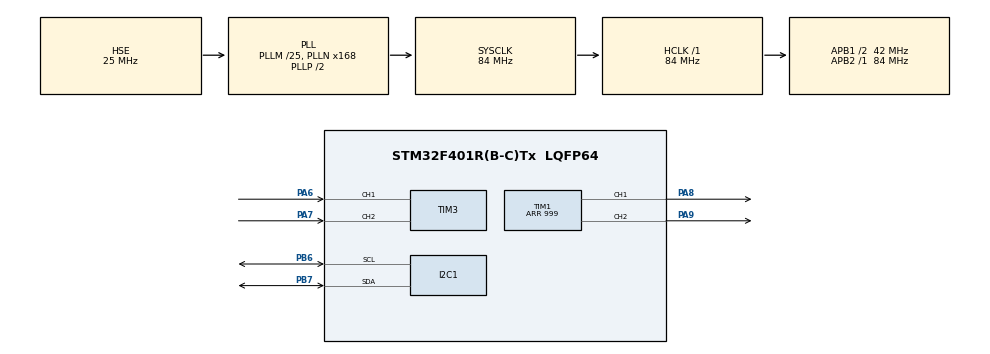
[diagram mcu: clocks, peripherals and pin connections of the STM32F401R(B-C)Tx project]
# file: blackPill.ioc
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FREERTOS.Tasks01=defaultTask,24,128,StartDefaultTask,Default,NULL,Dynamic,NULL,NULL
Mcu.Family=STM32F4
Mcu.Name=STM32F401R(B-C)Tx
Mcu.Package=LQFP64
NVIC.PriorityGroup=NVIC_PRIORITYGROUP_4
NVIC.TIM1_BRK_TIM9_IRQn=true\:15\:0\:false\:false\:true\:false\:false\:true\:true
NVIC.TimeBase=TIM1_BRK_TIM9_IRQn
NVIC.TimeBaseIP=TIM9
PA6.Signal=S_TIM3_CH1
PA7.Signal=S_TIM3_CH2
PA8.Signal=S_TIM1_CH1
PA9.Signal=S_TIM1_CH2
PB6.Mode=I2C
PB6.Signal=I2C1_SCL
PB7.Mode=I2C
PB7.Signal=I2C1_SDA
PH0\ -\ OSC_IN.Mode=HSE-External-Oscillator
PH0\ -\ OSC_IN.Signal=RCC_OSC_IN
PH1\ -\ OSC_OUT.Mode=HSE-External-Oscillator
PH1\ -\ OSC_OUT.Signal=RCC_OSC_OUT
ProjectManager.HeapSize=0x200
ProjectManager.StackSize=0x400
ProjectManager.TargetToolchain=CMake
RCC.48MHZClocksFreq_Value=42000000
RCC.AHBFreq_Value=84000000
RCC.APB1CLKDivider=RCC_HCLK_DIV2
RCC.APB1Freq_Value=42000000
RCC.APB1TimFreq_Value=84000000
RCC.APB2Freq_Value=84000000
RCC.APB2TimFreq_Value=84000000
RCC.CortexFreq_Value=84000000
RCC.HCLKFreq_Value=84000000
RCC.HSE_VALUE=25000000
RCC.HSI_VALUE=16000000
RCC.LSE_VALUE=32768
RCC.PLLM=25
RCC.PLLN=168
RCC.PLLSourceVirtual=RCC_PLLSOURCE_HSE
RCC.SYSCLKFreq_VALUE=84000000
RCC.SYSCLKSource=RCC_SYSCLKSOURCE_PLLCLK
RCC.VCOOutputFreq_Value=168000000
SH.S_TIM1_CH1.0=TIM1_CH1,PWM Generation1 CH1
SH.S_TIM1_CH2.0=TIM1_CH2,PWM Generation2 CH2
SH.S_TIM3_CH1.0=TIM3_CH1,Encoder_Interface
SH.S_TIM3_CH2.0=TIM3_CH2,Encoder_Interface
TIM1.Channel-PWM\ Generation1\ CH1=TIM_CHANNEL_1
TIM1.Channel-PWM\ Generation2\ CH2=TIM_CHANNEL_2
TIM1.Period=999
TIM3.EncoderMode=TIM_ENCODERMODE_TI12
VP_FREERTOS_VS_CMSIS_V2.Mode=CMSIS_V2
VP_SYS_VS_tim9.Mode=TIM9
board=custom

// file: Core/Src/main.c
/* USER CODE BEGIN Header */
/**
 ******************************************************************************
 * @file           : main.c
 * @brief          : Main program body
 ******************************************************************************
 * @attention
 *
 * Copyright (c) 2026 STMicroelectronics.
 * All rights reserved.
 *
 * This software is licensed under terms that can be found in the LICENSE file
 * in the root directory of this software component.
 * If no LICENSE file comes with this software, it is provided AS-IS.
 *
 ******************************************************************************
 */
/* USER CODE END Header */
#include "main.h"
#include "cmsis_os.h"

/* USER CODE BEGIN Includes */
#include "eeprom.h"
#include "app_main.h"

#include "stdio.h"
#include "math.h"

/* USER CODE END Includes */

I2C_HandleTypeDef hi2c1;

TIM_HandleTypeDef htim1;
TIM_HandleTypeDef htim3;

/* Definitions for defaultTask */
osThreadId_t defaultTaskHandle;
const osThreadAttr_t defaultTask_attributes = {
  .name = "defaultTask",
  .stack_size = 128 * 4,
  .priority = (osPriority_t) osPriorityNormal,
};
/* USER CODE BEGIN PV */
uint32_t ir_sequence[9] = {
    2200, 0,    0,   // Pulse 1: Only Channel 1 is ON
    0,    2200, 0,   // Pulse 2: Only Channel 2 is ON
    0,    0,    2200 // Pulse 3: Only Channel 3 is ON
};

uint16_t adc_readings[3] = {0};
uint16_t ir_readings[3] = {0};
/* USER CODE END PV */

void SystemClock_Config(void);
static void MX_GPIO_Init(void);
static void MX_TIM1_Init(void);
static void MX_TIM3_Init(void);
static void MX_I2C1_Init(void);
void StartDefaultTask(void *argument);

/* USER CODE BEGIN PFP */
void motor_speed(int16_t duty);
void SWO_Init(void);
/* USER CODE END PFP */

/* USER CODE BEGIN 0 */
char dma_ready = 0;
int32_t total_count_enc_tim3 = 0;
uint16_t last_raw_R = 0;
/* USER CODE END 0 */

int main(void)
{

  /* MCU Configuration--------------------------------------------------------*/

  /* Reset of all peripherals, Initializes the Flash interface and the Systick. */
  HAL_Init();

  /* Configure the system clock */
  SystemClock_Config();

  /* Initialize all configured peripherals */
  MX_GPIO_Init();
  MX_TIM1_Init();
  MX_TIM3_Init();
  MX_I2C1_Init();
  /* USER CODE BEGIN 2 */
  SWO_Init();

  // starts encoder
  HAL_TIM_Encoder_Start(&htim3, TIM_CHANNEL_ALL);
  // starts motor pwm
  HAL_TIM_PWM_Start(&htim1, TIM_CHANNEL_1);
  HAL_TIM_PWM_Start(&htim1, TIM_CHANNEL_2);

  /*
  // starts ADC dma
  HAL_ADC_Start_DMA(&hadc1, (uint32_t *)adc_readings, 3);

  //starts IR pwm
  HAL_TIM_PWM_Start(&htim5, TIM_CHANNEL_1);
  HAL_TIM_PWM_Start(&htim5, TIM_CHANNEL_2);
  HAL_TIM_PWM_Start(&htim5, TIM_CHANNEL_3);

  //starts OC channel
  HAL_TIM_OC_Start(&htim5, TIM_CHANNEL_4);

  // starts pwm write sequence
  HAL_TIM_DMABurst_WriteStart(&htim5, TIM_DMABASE_CCR1, TIM_DMA_CC4,
                              (uint32_t *)ir_sequence,
                              TIM_DMABURSTLENGTH_3TRANSFERS);

  // starts the master 1000 Hz timer
  HAL_TIM_PWM_Start(&htim4, TIM_CHANNEL_4);
  HAL_TIM_Base_Start(&htim4);

  /* USER CODE END 2 */

  /* Init scheduler */
  osKernelInitialize();

  /* Create the thread(s) */
  /* creation of defaultTask */
  defaultTaskHandle = osThreadNew(StartDefaultTask, NULL, &defaultTask_attributes);

  /* Start scheduler */
  osKernelStart();

  /* We should never get here as control is now taken by the scheduler */

  /* Infinite loop */
  while (1) {

}
}

void SystemClock_Config(void)
{
  RCC_OscInitTypeDef RCC_OscInitStruct = {0};
  RCC_ClkInitTypeDef RCC_ClkInitStruct = {0};

  /** Configure the main internal regulator output voltage
  */
  __HAL_RCC_PWR_CLK_ENABLE();
  __HAL_PWR_VOLTAGESCALING_CONFIG(PWR_REGULATOR_VOLTAGE_SCALE2);

  /** Initializes the RCC Oscillators according to the specified parameters
  * in the RCC_OscInitTypeDef structure.
  */
  RCC_OscInitStruct.OscillatorType = RCC_OSCILLATORTYPE_HSE;
  RCC_OscInitStruct.HSEState = RCC_HSE_ON;
  RCC_OscInitStruct.PLL.PLLState = RCC_PLL_ON;
  RCC_OscInitStruct.PLL.PLLSource = RCC_PLLSOURCE_HSE;
  RCC_OscInitStruct.PLL.PLLM = 25;
  RCC_OscInitStruct.PLL.PLLN = 168;
  RCC_OscInitStruct.PLL.PLLP = RCC_PLLP_DIV2;
  RCC_OscInitStruct.PLL.PLLQ = 4;
  if (HAL_RCC_OscConfig(&RCC_OscInitStruct) != HAL_OK)
  {
    Error_Handler();
  }

  /** Initializes the CPU, AHB and APB buses clocks
  */
  RCC_ClkInitStruct.ClockType = RCC_CLOCKTYPE_HCLK|RCC_CLOCKTYPE_SYSCLK
                              |RCC_CLOCKTYPE_PCLK1|RCC_CLOCKTYPE_PCLK2;
  RCC_ClkInitStruct.SYSCLKSource = RCC_SYSCLKSOURCE_PLLCLK;
  RCC_ClkInitStruct.AHBCLKDivider = RCC_SYSCLK_DIV1;
  RCC_ClkInitStruct.APB1CLKDivider = RCC_HCLK_DIV2;
  RCC_ClkInitStruct.APB2CLKDivider = RCC_HCLK_DIV1;

  if (HAL_RCC_ClockConfig(&RCC_ClkInitStruct, FLASH_LATENCY_2) != HAL_OK)
  {
    Error_Handler();
  }
}

static void MX_I2C1_Init(void)
{

  hi2c1.Instance = I2C1;
  hi2c1.Init.ClockSpeed = 100000;
  hi2c1.Init.DutyCycle = I2C_DUTYCYCLE_2;
  hi2c1.Init.OwnAddress1 = 0;
  hi2c1.Init.AddressingMode = I2C_ADDRESSINGMODE_7BIT;
  hi2c1.Init.DualAddressMode = I2C_DUALADDRESS_DISABLE;
  hi2c1.Init.OwnAddress2 = 0;
  hi2c1.Init.GeneralCallMode = I2C_GENERALCALL_DISABLE;
  hi2c1.Init.NoStretchMode = I2C_NOSTRETCH_DISABLE;
  if (HAL_I2C_Init(&hi2c1) != HAL_OK)
  {
    Error_Handler();
  }

}

static void MX_TIM1_Init(void)
{

  TIM_MasterConfigTypeDef sMasterConfig = {0};
  TIM_OC_InitTypeDef sConfigOC = {0};
  TIM_BreakDeadTimeConfigTypeDef sBreakDeadTimeConfig = {0};

  htim1.Instance = TIM1;
  htim1.Init.Prescaler = 0;
  htim1.Init.CounterMode = TIM_COUNTERMODE_UP;
  htim1.Init.Period = 999;
  htim1.Init.ClockDivision = TIM_CLOCKDIVISION_DIV1;
  htim1.Init.RepetitionCounter = 0;
  htim1.Init.AutoReloadPreload = TIM_AUTORELOAD_PRELOAD_DISABLE;
  if (HAL_TIM_PWM_Init(&htim1) != HAL_OK)
  {
    Error_Handler();
  }
  sMasterConfig.MasterOutputTrigger = TIM_TRGO_RESET;
  sMasterConfig.MasterSlaveMode = TIM_MASTERSLAVEMODE_DISABLE;
  if (HAL_TIMEx_MasterConfigSynchronization(&htim1, &sMasterConfig) != HAL_OK)
  {
    Error_Handler();
  }
  sConfigOC.OCMode = TIM_OCMODE_PWM1;
  sConfigOC.Pulse = 0;
  sConfigOC.OCPolarity = TIM_OCPOLARITY_HIGH;
  sConfigOC.OCNPolarity = TIM_OCNPOLARITY_HIGH;
  sConfigOC.OCFastMode = TIM_OCFAST_DISABLE;
  sConfigOC.OCIdleState = TIM_OCIDLESTATE_RESET;
  sConfigOC.OCNIdleState = TIM_OCNIDLESTATE_RESET;
  if (HAL_TIM_PWM_ConfigChannel(&htim1, &sConfigOC, TIM_CHANNEL_1) != HAL_OK)
  {
    Error_Handler();
  }
  if (HAL_TIM_PWM_ConfigChannel(&htim1, &sConfigOC, TIM_CHANNEL_2) != HAL_OK)
  {
    Error_Handler();
  }
  sBreakDeadTimeConfig.OffStateRunMode = TIM_OSSR_DISABLE;
  sBreakDeadTimeConfig.OffStateIDLEMode = TIM_OSSI_DISABLE;
  sBreakDeadTimeConfig.LockLevel = TIM_LOCKLEVEL_OFF;
  sBreakDeadTimeConfig.DeadTime = 0;
  sBreakDeadTimeConfig.BreakState = TIM_BREAK_DISABLE;
  sBreakDeadTimeConfig.BreakPolarity = TIM_BREAKPOLARITY_HIGH;
  sBreakDeadTimeConfig.AutomaticOutput = TIM_AUTOMATICOUTPUT_DISABLE;
  if (HAL_TIMEx_ConfigBreakDeadTime(&htim1, &sBreakDeadTimeConfig) != HAL_OK)
  {
    Error_Handler();
  }
  HAL_TIM_MspPostInit(&htim1);

}

static void MX_TIM3_Init(void)
{

  TIM_Encoder_InitTypeDef sConfig = {0};
  TIM_MasterConfigTypeDef sMasterConfig = {0};

  htim3.Instance = TIM3;
  htim3.Init.Prescaler = 0;
  htim3.Init.CounterMode = TIM_COUNTERMODE_UP;
  htim3.Init.Period = 65535;
  htim3.Init.ClockDivision = TIM_CLOCKDIVISION_DIV1;
  htim3.Init.AutoReloadPreload = TIM_AUTORELOAD_PRELOAD_DISABLE;
  sConfig.EncoderMode = TIM_ENCODERMODE_TI12;
  sConfig.IC1Polarity = TIM_ICPOLARITY_RISING;
  sConfig.IC1Selection = TIM_ICSELECTION_DIRECTTI;
  sConfig.IC1Prescaler = TIM_ICPSC_DIV1;
  sConfig.IC1Filter = 0;
  sConfig.IC2Polarity = TIM_ICPOLARITY_RISING;
  sConfig.IC2Selection = TIM_ICSELECTION_DIRECTTI;
  sConfig.IC2Prescaler = TIM_ICPSC_DIV1;
  sConfig.IC2Filter = 0;
  if (HAL_TIM_Encoder_Init(&htim3, &sConfig) != HAL_OK)
  {
    Error_Handler();
  }
  sMasterConfig.MasterOutputTrigger = TIM_TRGO_RESET;
  sMasterConfig.MasterSlaveMode = TIM_MASTERSLAVEMODE_DISABLE;
  if (HAL_TIMEx_MasterConfigSynchronization(&htim3, &sMasterConfig) != HAL_OK)
  {
    Error_Handler();
  }

}

static void MX_GPIO_Init(void)
{

  /* GPIO Ports Clock Enable */
  __HAL_RCC_GPIOH_CLK_ENABLE();
  __HAL_RCC_GPIOA_CLK_ENABLE();
  __HAL_RCC_GPIOB_CLK_ENABLE();

}

/* USER CODE BEGIN 4 */

// ADC DMA Callback function
// void HAL_ADC_ConvCpltCallback(ADC_HandleTypeDef *hadc)
// {
//   // printf("ADC fired\n");
//   __HAL_TIM_DISABLE(&htim5);
//   __HAL_TIM_SET_COUNTER(&htim5, 0);
//   dma_ready = 1;
// }

int _write(int file, char *ptr, int len)
{
    for (int i = 0; i < len; i++)
    {
        ITM_SendChar((uint32_t)ptr[i]);
    }
    return len;
}

void SWO_Init(void)//in order to use ITM_SendChar
{
    // Enable trace subsystem
    CoreDebug->DEMCR |= CoreDebug_DEMCR_TRCENA_Msk;

    // TPIU/ITM config — assumes core clock known, SWO baud rate e.g. 2000000
    *((volatile unsigned int*)0xE0040010) = HAL_RCC_GetHCLKFreq() / 2000000 - 1; // TPIU prescaler for SWO baud

    *((volatile unsigned int*)0xE00400F0) = 2; // Selected PIN Protocol Register: 2 = NRZ

    // Enable ITM, port 0
    ITM->LAR = 0xC5ACCE55;       // Unlock
    ITM->TCR = ITM_TCR_ITMENA_Msk | ITM_TCR_SYNCENA_Msk;
    ITM->TER = 1;                 // Enable stimulus port 0
}

/* USER CODE END 4 */

void StartDefaultTask(void *argument)
{
  /* USER CODE BEGIN 5 */
  StartDefaultTask_run(argument);
  /* USER CODE END 5 */
}

void motor_speed(int16_t duty) // [-100,100]
{
  duty *= 9.99;
    if (duty > 999) duty = 999;
    if (duty < -999) duty = -999;

    if (duty >= 0)
    {
        __HAL_TIM_SET_COMPARE(&htim1, MOTOR_RIGHT_FORWARD_CHANNEL, duty);
        __HAL_TIM_SET_COMPARE(&htim1, MOTOR_RIGHT_BACKWARD_CHANNEL, 0);
    }
    else
    {
        __HAL_TIM_SET_COMPARE(&htim1, MOTOR_RIGHT_FORWARD_CHANNEL, 0);
        __HAL_TIM_SET_COMPARE(&htim1, MOTOR_RIGHT_BACKWARD_CHANNEL, -duty);
    }
}

void HAL_TIM_PeriodElapsedCallback(TIM_HandleTypeDef *htim)
{
  if (htim->Instance == TIM9)
  {
    HAL_IncTick();
  }
}

void Error_Handler(void)
{
  __disable_irq();
  while (1) {
  }
}
#ifdef USE_FULL_ASSERT
/**
  * @brief  Reports the name of the source file and the source line number
  *         where the assert_param error has occurred.
  * @param  file: pointer to the source file name
  * @param  line: assert_param error line source number
  * @retval None
  */
void assert_failed(uint8_t *file, uint32_t line)
{
  /* USER CODE BEGIN 6 */
  /* User can add his own implementation to report the file name and line
     number, ex: printf("Wrong parameters value: file %s on line %d\r\n", file,
     line) */
  /* USER CODE END 6 */
}
#endif /* USE_FULL_ASSERT */
